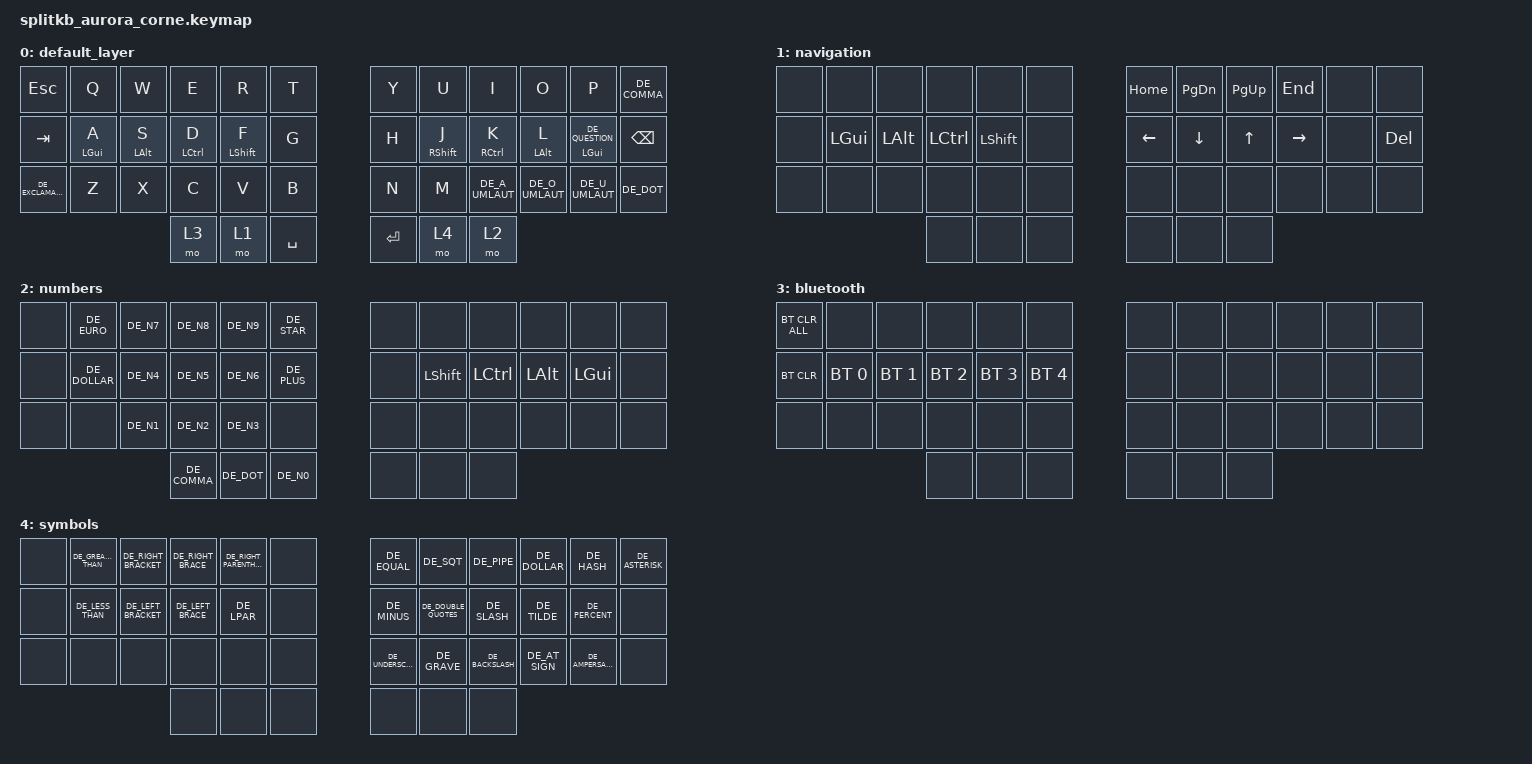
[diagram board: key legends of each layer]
/*
 * Copyright (c) 2020 The ZMK Contributors
 *
 * SPDX-License-Identifier: MIT
 */

#include "keys_de.h"
#include <behaviors.dtsi>
#include <dt-bindings/zmk/bt.h>
#include <dt-bindings/zmk/keys.h>

/ {
    behaviors {
        home_row_mods_left: home_row_mods_left {
            compatible = "zmk,behavior-hold-tap";
            label = "HOME_ROW_MODS_LEFT";
            bindings = <&kp>, <&kp>;

            #binding-cells = <2>;
            tapping-term-ms = <200>;
            flavor = "balanced";
            hold-trigger-key-positions = <6 7 8 9 9 10 11 21 22 23 33 34 35 6 7 8 9 10 11 18 19 20 21 22 23 30 31 32 33 34 35 40 41 39>;
            hold-trigger-on-release;
        };

        home_row_mods_right: home_row_mods_right {
            compatible = "zmk,behavior-hold-tap";
            label = "HOME_ROW_MODS_RIGHT";
            bindings = <&kp>, <&kp>;

            #binding-cells = <2>;
            tapping-term-ms = <200>;
            flavor = "balanced";
            hold-trigger-key-positions = <0 1 5 12 13 14 15 16 17 24 25 26 27 28 29 36 37 38 2 3 4>;
            hold-trigger-on-release;
        };
    };

    keymap {
        compatible = "zmk,keymap";

        default_layer {
            bindings = <
&kp ESCAPE          &kp Q                           &kp W                           &kp E                               &kp R                             &kp T        &kp Y    &kp U                          &kp I                                 &kp O                            &kp P                                      &kp DE_COMMA
&kp TAB             &home_row_mods_left LEFT_GUI A  &home_row_mods_left LEFT_ALT S  &home_row_mods_left LEFT_CONTROL D  &home_row_mods_left LEFT_SHIFT F  &kp G        &kp H    &home_row_mods_right RSHIFT J  &home_row_mods_right RIGHT_CONTROL K  &home_row_mods_right LEFT_ALT L  &home_row_mods_right LEFT_GUI DE_QUESTION  &kp BACKSPACE
&kp DE_EXCLAMATION  &kp Z                           &kp X                           &kp C                               &kp V                             &kp B        &kp N    &kp M                          &kp DE_A_UMLAUT                       &kp DE_O_UMLAUT                  &kp DE_U_UMLAUT                            &kp DE_DOT
                                                                                    &mo 3                               &mo 1                             &kp SPACE    &kp RET  &mo 4                          &mo 2
            >;
        };

        navigation {
            bindings = <
&none  &none     &none         &none      &none      &none    &kp HOME  &kp PAGE_DOWN  &kp PAGE_UP  &kp END    &none  &none
&none  &kp LGUI  &kp LEFT_ALT  &kp LCTRL  &kp LSHFT  &none    &kp LEFT  &kp DOWN       &kp UP       &kp RIGHT  &none  &kp DEL
&none  &none     &none         &none      &none      &none    &none     &none          &none        &none      &none  &none
                               &none      &none      &none    &none     &none          &none
            >;
        };

        numbers {
            bindings = <
&none  &kp DE_EURO    &kp DE_N7  &kp DE_N8     &kp DE_N9   &kp DE_STAR    &none  &none           &none      &none         &none         &none
&none  &kp DE_DOLLAR  &kp DE_N4  &kp DE_N5     &kp DE_N6   &kp DE_PLUS    &none  &kp LEFT_SHIFT  &kp LCTRL  &kp LEFT_ALT  &kp LEFT_GUI  &none
&none  &none          &kp DE_N1  &kp DE_N2     &kp DE_N3   &none          &none  &none           &none      &none         &none         &none
                                 &kp DE_COMMA  &kp DE_DOT  &kp DE_N0      &none  &none           &none
            >;
        };

        bluetooth {
            bindings = <
&bt BT_CLR_ALL  &none         &none         &none         &none         &none           &none  &none  &none  &none  &none  &none
&bt BT_CLR      &bt BT_SEL 0  &bt BT_SEL 1  &bt BT_SEL 2  &bt BT_SEL 3  &bt BT_SEL 4    &none  &none  &none  &none  &none  &none
&none           &none         &none         &none         &none         &none           &none  &none  &none  &none  &none  &none
                                            &none         &none         &none           &none  &none  &none
            >;
        };

        symbols {
            bindings = <
&none  &kp DE_GREATER_THAN  &kp DE_RIGHT_BRACKET  &kp DE_RIGHT_BRACE  &kp DE_RIGHT_PARENTHESIS  &none    &kp DE_EQUAL       &kp DE_SQT            &kp DE_PIPE       &kp DE_DOLLAR   &kp DE_HASH       &kp DE_ASTERISK
&none  &kp DE_LESS_THAN     &kp DE_LEFT_BRACKET   &kp DE_LEFT_BRACE   &kp DE_LPAR               &none    &kp DE_MINUS       &kp DE_DOUBLE_QUOTES  &kp DE_SLASH      &kp DE_TILDE    &kp DE_PERCENT    &none
&none  &none                &none                 &none               &none                     &none    &kp DE_UNDERSCORE  &kp DE_GRAVE          &kp DE_BACKSLASH  &kp DE_AT_SIGN  &kp DE_AMPERSAND  &none
                                                  &none               &none                     &none    &none              &none                 &none
            >;
        };
    };
};
